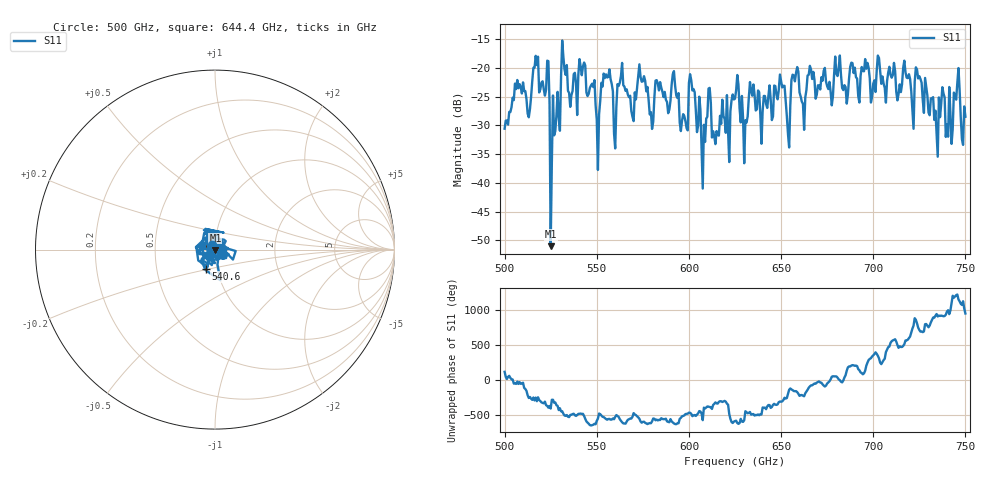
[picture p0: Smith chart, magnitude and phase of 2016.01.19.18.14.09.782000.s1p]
!Created with skrf (http://scikit-rf.org).
# GHz S RI R 50.0
!freq ReS11 ImS11
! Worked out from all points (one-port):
!   401 points, 500 GHz to 750 GHz, reference 50 ohm
!   lowest |S11| = -51.0 dB at 525 GHz (marker M1), VSWR 1.01, Z = 50.2 - j0.188 ohm
!   |S11| at or under -10 dB: start of sweep to end of sweep
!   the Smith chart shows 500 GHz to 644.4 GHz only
!   S11 on the Smith chart (normalised r, x): 500 GHz: 0.97, +0.05; 540.6 GHz: 0.88, -0.19; 644.4 GHz: 1.09, -0.06
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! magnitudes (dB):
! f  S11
! 500 GHz  -30.6
! 506.9 GHz  -22.1
! 513.1 GHz  -28.6
! 516.9 GHz  -17.9
! 523.1 GHz  -18.8
! 525 GHz  -51.0
! 526.2 GHz  -24.8
! 531.2 GHz  -15.2
! 540.6 GHz  -18.5
! 550.6 GHz  -37.7
! 553.8 GHz  -21.0
! 560 GHz  -34.0
! 562.5 GHz  -22.6
! 593.8 GHz  -25.2
! 601.9 GHz  -23.9
! 608.1 GHz  -29.9
! 610.6 GHz  -23.6
! 615 GHz  -31.0
! 625 GHz  -25.4
! 630.6 GHz  -29.1
! 633.8 GHz  -24.0
! 644.4 GHz  -25.5
! 650.6 GHz  -23.4
! 653.8 GHz  -31.5
! 656.2 GHz  -21.2
! 687.5 GHz  -19.8
! 718.8 GHz  -21.8
! 750 GHz  -28.5
